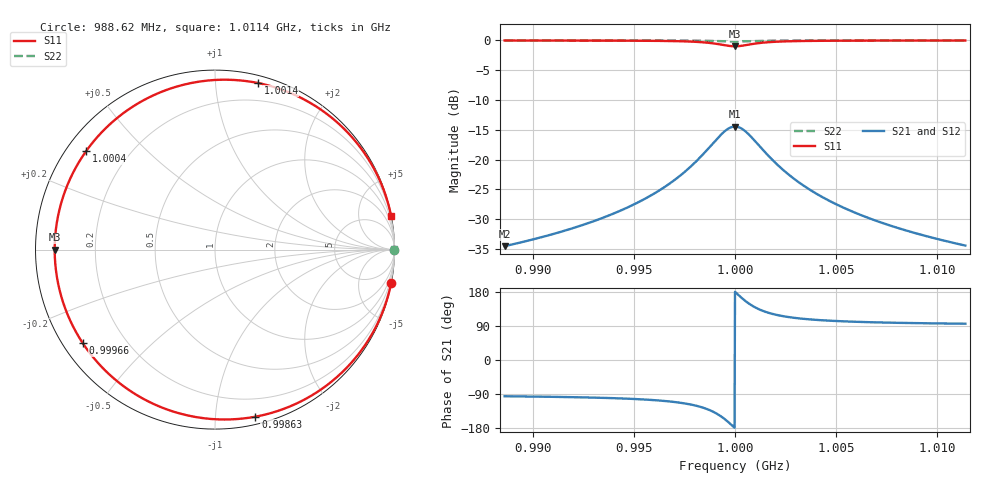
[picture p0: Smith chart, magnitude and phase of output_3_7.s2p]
! File generated for n1 = 3, n2 = 7
! b1 = 21.544347
! b2 = 0.215443
! Q0 = 10000.000000
! f0 = 1000000000.000000
! n = 1001
! rel_span = 10.000000
# Hz S RI R 50
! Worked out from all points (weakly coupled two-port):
!   1001 points, 988.62 MHz to 1.0114 GHz, reference 50 ohm
!   highest |S21| = -14.46 dB at 1 GHz (marker M1); lowest = -34.5 dB at 988.62 MHz (marker M2)
!   lowest |S11| = -1.0 dB at 1 GHz (marker M3), VSWR 17.73, Z = 2.82 + j0 ohm
!   |S11| at or under -10 dB: nowhere
!   |S22| runs from -0.2 to 0.0 dB; largest |S21 - S12| = 0
!   S11 on the Smith chart (normalised r, x): 988.62 MHz: 0, -11; 998.63 MHz: 0.06, -1.27; 999.66 MHz: 0.06, -0.32; 1.0004 GHz: 0.06, +0.34; 1.0014 GHz: 0.06, +1.29; 1.0114 GHz: 0, +11
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9.886201e8  0.9815 -0.1864  -0.00185 -0.0186  -0.00185 -0.0186  0.9998 -0.00186
9.92421e8  0.9586 -0.277  -0.00414 -0.0277  -0.00414 -0.0277  0.9996 -0.00277
9.945832e8  0.9204 -0.38  -0.00796 -0.038  -0.00796 -0.038  0.9992 -0.0038
9.962219e8  0.8431 -0.522  -0.0157 -0.0522  -0.0157 -0.0522  0.9984 -0.00522
9.976785e8  0.6339 -0.7477  -0.0366 -0.0748  -0.0366 -0.0748  0.9963 -0.00748
9.98202e8  0.4592 -0.8552  -0.0541 -0.0855  -0.0541 -0.0855  0.9946 -0.00855
9.986344e8  0.2247 -0.931  -0.0775 -0.0931  -0.0775 -0.0931  0.9922 -0.00931
9.992034e8  -0.2703 -0.8895  -0.127 -0.089  -0.127 -0.089  0.9873 -0.0089
9.99431e8  -0.5144 -0.7574  -0.1514 -0.0757  -0.1514 -0.0757  0.9849 -0.00757
9.996586e8  -0.7368 -0.5211  -0.1737 -0.0521  -0.1737 -0.0521  0.9826 -0.00521
1e9  -0.8932 0  -0.1893 0  -0.1893 0  0.9811 0
1.000182e9  -0.8459 0.2953  -0.1846 0.0295  -0.1846 0.0295  0.9815 0.00295
1.000364e9  -0.7174 0.5495  -0.1717 0.0549  -0.1717 0.0549  0.9828 0.00549
1.000569e9  -0.5147 0.7571  -0.1515 0.0757  -0.1515 0.0757  0.9849 0.00757
1.000797e9  -0.2709 0.8893  -0.1271 0.0889  -0.1271 0.0889  0.9873 0.00889
1.001047e9  -0.0258 0.9433  -0.1026 0.0943  -0.1026 0.0943  0.9897 0.00943
1.001388e9  0.2386 0.9283  -0.0761 0.0928  -0.0761 0.0928  0.9924 0.00928
1.001821e9  0.4675 0.8512  -0.0532 0.0851  -0.0532 0.0851  0.9947 0.00851
1.002344e9  0.6383 0.7443  -0.0362 0.0744  -0.0362 0.0744  0.9964 0.00744
1.003801e9  0.8437 0.521  -0.0156 0.0521  -0.0156 0.0521  0.9984 0.00521
1.007602e9  0.9582 0.2782  -0.00418 0.0278  -0.00418 0.0278  0.9996 0.00278
1.01138e9  0.981 0.1885  -0.0019 0.0188  -0.0019 0.0188  0.9998 0.00188
